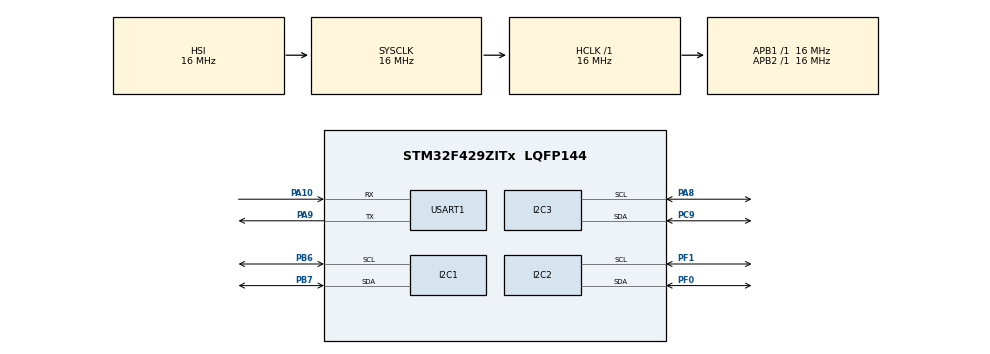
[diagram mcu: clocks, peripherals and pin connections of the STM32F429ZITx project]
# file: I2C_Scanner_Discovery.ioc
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Mcu.Family=STM32F4
Mcu.Name=STM32F429ZITx
Mcu.Package=LQFP144
NVIC.PriorityGroup=NVIC_PRIORITYGROUP_4
PA10.Mode=Asynchronous
PA10.Signal=USART1_RX
PA8.Mode=I2C
PA8.Signal=I2C3_SCL
PA9.Mode=Asynchronous
PA9.Signal=USART1_TX
PB6.Mode=I2C
PB6.Signal=I2C1_SCL
PB7.Mode=I2C
PB7.Signal=I2C1_SDA
PC9.Mode=I2C
PC9.Signal=I2C3_SDA
PF0.Mode=I2C
PF0.Signal=I2C2_SDA
PF1.Mode=I2C
PF1.Signal=I2C2_SCL
ProjectManager.HeapSize=0x200
ProjectManager.StackSize=0x400
ProjectManager.TargetToolchain=STM32CubeIDE
RCC.AHBFreq_Value=16000000
RCC.APB1Freq_Value=16000000
RCC.APB2Freq_Value=16000000
RCC.CortexFreq_Value=16000000
RCC.HSE_VALUE=25000000
RCC.HSI_VALUE=16000000
RCC.LSE_VALUE=32768
RCC.SYSCLKFreq_VALUE=16000000
RCC.VCOOutputFreq_Value=192000000
USART1.VirtualMode=VM_ASYNC
board=custom

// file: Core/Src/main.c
/* USER CODE BEGIN Header */
/**
  ******************************************************************************
  * @file           : main.c
  * @brief          : Main program body
  ******************************************************************************
  * @attention
  *
  * <h2><center>&copy; Copyright (c) 2021 STMicroelectronics.
  * All rights reserved.</center></h2>
  *
  * This software component is licensed by ST under BSD 3-Clause license,
  * the "License"; You may not use this file except in compliance with the
  * License. You may obtain a copy of the License at:
  *                        opensource.org/licenses/BSD-3-Clause
  *
  ******************************************************************************
  */
/* USER CODE END Header */
#include "main.h"

/* USER CODE BEGIN Includes */
#include "stdio.h"

I2C_HandleTypeDef hi2c1;
UART_HandleTypeDef huart1;

uint8_t Buffer[25] = {0};
uint8_t Space[] = " - ";
uint8_t StartMSG[] = "Starting I2C Scanning: \r\n";
uint8_t EndMSG[] = "Done! \r\n\r\n";

void SystemClock_Config(void);
static void MX_GPIO_Init(void);
static void MX_I2C1_Init(void);
static void MX_USART1_UART_Init(void);

/* USER CODE END Includes */

I2C_HandleTypeDef hi2c1;
I2C_HandleTypeDef hi2c2;
I2C_HandleTypeDef hi2c3;

UART_HandleTypeDef huart1;

void SystemClock_Config(void);
static void MX_GPIO_Init(void);
static void MX_I2C1_Init(void);
static void MX_USART1_UART_Init(void);
static void MX_I2C2_Init(void);
static void MX_I2C3_Init(void);

int main(void)
{
  /* USER CODE BEGIN 1 */
	uint8_t i = 0, ret;

    HAL_Init();
    SystemClock_Config();
    MX_GPIO_Init();
    MX_I2C1_Init();
    MX_USART1_UART_Init();

    HAL_Delay(1000);

    /*-[ I2C Bus Scanning ]-*/
    HAL_UART_Transmit(&huart1, StartMSG, sizeof(StartMSG), 10000);
    for(i=1; i<128; i++)
    {
    	ret = HAL_I2C_IsDeviceReady(&hi2c1, (uint16_t)(i<<1), 3, 5);
    	if (ret != HAL_OK) /* No ACK Received At That Address */
    	{
    		HAL_UART_Transmit(&huart1, Space, sizeof(Space), 10000);
        }
    	else if(ret == HAL_OK)
    	{
    		sprintf(Buffer, "0x%X", i);
    		HAL_UART_Transmit(&huart1, Buffer, sizeof(Buffer), 10000);
    	}
    }
    HAL_UART_Transmit(&huart1, EndMSG, sizeof(EndMSG), 10000);
    /*--[ Scanning Done ]--*/

  /* USER CODE END 1 */

  /* MCU Configuration--------------------------------------------------------*/

  /* Reset of all peripherals, Initializes the Flash interface and the Systick. */
  HAL_Init();

  /* Configure the system clock */
  SystemClock_Config();

  /* Initialize all configured peripherals */
  MX_GPIO_Init();
  MX_I2C1_Init();
  MX_USART1_UART_Init();
  MX_I2C2_Init();
  MX_I2C3_Init();

  /* Infinite loop */
  while (1)
  {

  }
}

void SystemClock_Config(void)
{
  RCC_OscInitTypeDef RCC_OscInitStruct = {0};
  RCC_ClkInitTypeDef RCC_ClkInitStruct = {0};

  /** Configure the main internal regulator output voltage
  */
  __HAL_RCC_PWR_CLK_ENABLE();
  __HAL_PWR_VOLTAGESCALING_CONFIG(PWR_REGULATOR_VOLTAGE_SCALE3);
  /** Initializes the RCC Oscillators according to the specified parameters
  * in the RCC_OscInitTypeDef structure.
  */
  RCC_OscInitStruct.OscillatorType = RCC_OSCILLATORTYPE_HSI;
  RCC_OscInitStruct.HSIState = RCC_HSI_ON;
  RCC_OscInitStruct.HSICalibrationValue = RCC_HSICALIBRATION_DEFAULT;
  RCC_OscInitStruct.PLL.PLLState = RCC_PLL_NONE;
  if (HAL_RCC_OscConfig(&RCC_OscInitStruct) != HAL_OK)
  {
    Error_Handler();
  }
  /** Initializes the CPU, AHB and APB buses clocks
  */
  RCC_ClkInitStruct.ClockType = RCC_CLOCKTYPE_HCLK|RCC_CLOCKTYPE_SYSCLK
                              |RCC_CLOCKTYPE_PCLK1|RCC_CLOCKTYPE_PCLK2;
  RCC_ClkInitStruct.SYSCLKSource = RCC_SYSCLKSOURCE_HSI;
  RCC_ClkInitStruct.AHBCLKDivider = RCC_SYSCLK_DIV1;
  RCC_ClkInitStruct.APB1CLKDivider = RCC_HCLK_DIV1;
  RCC_ClkInitStruct.APB2CLKDivider = RCC_HCLK_DIV1;

  if (HAL_RCC_ClockConfig(&RCC_ClkInitStruct, FLASH_LATENCY_0) != HAL_OK)
  {
    Error_Handler();
  }
}

static void MX_I2C1_Init(void)
{

  hi2c1.Instance = I2C1;
  hi2c1.Init.ClockSpeed = 100000;
  hi2c1.Init.DutyCycle = I2C_DUTYCYCLE_2;
  hi2c1.Init.OwnAddress1 = 0;
  hi2c1.Init.AddressingMode = I2C_ADDRESSINGMODE_7BIT;
  hi2c1.Init.DualAddressMode = I2C_DUALADDRESS_DISABLE;
  hi2c1.Init.OwnAddress2 = 0;
  hi2c1.Init.GeneralCallMode = I2C_GENERALCALL_DISABLE;
  hi2c1.Init.NoStretchMode = I2C_NOSTRETCH_DISABLE;
  if (HAL_I2C_Init(&hi2c1) != HAL_OK)
  {
    Error_Handler();
  }
  /** Configure Analogue filter
  */
  if (HAL_I2CEx_ConfigAnalogFilter(&hi2c1, I2C_ANALOGFILTER_ENABLE) != HAL_OK)
  {
    Error_Handler();
  }
  /** Configure Digital filter
  */
  if (HAL_I2CEx_ConfigDigitalFilter(&hi2c1, 0) != HAL_OK)
  {
    Error_Handler();
  }

}

static void MX_I2C2_Init(void)
{

  hi2c2.Instance = I2C2;
  hi2c2.Init.ClockSpeed = 100000;
  hi2c2.Init.DutyCycle = I2C_DUTYCYCLE_2;
  hi2c2.Init.OwnAddress1 = 0;
  hi2c2.Init.AddressingMode = I2C_ADDRESSINGMODE_7BIT;
  hi2c2.Init.DualAddressMode = I2C_DUALADDRESS_DISABLE;
  hi2c2.Init.OwnAddress2 = 0;
  hi2c2.Init.GeneralCallMode = I2C_GENERALCALL_DISABLE;
  hi2c2.Init.NoStretchMode = I2C_NOSTRETCH_DISABLE;
  if (HAL_I2C_Init(&hi2c2) != HAL_OK)
  {
    Error_Handler();
  }
  /** Configure Analogue filter
  */
  if (HAL_I2CEx_ConfigAnalogFilter(&hi2c2, I2C_ANALOGFILTER_ENABLE) != HAL_OK)
  {
    Error_Handler();
  }
  /** Configure Digital filter
  */
  if (HAL_I2CEx_ConfigDigitalFilter(&hi2c2, 0) != HAL_OK)
  {
    Error_Handler();
  }

}

static void MX_I2C3_Init(void)
{

  hi2c3.Instance = I2C3;
  hi2c3.Init.ClockSpeed = 100000;
  hi2c3.Init.DutyCycle = I2C_DUTYCYCLE_2;
  hi2c3.Init.OwnAddress1 = 0;
  hi2c3.Init.AddressingMode = I2C_ADDRESSINGMODE_7BIT;
  hi2c3.Init.DualAddressMode = I2C_DUALADDRESS_DISABLE;
  hi2c3.Init.OwnAddress2 = 0;
  hi2c3.Init.GeneralCallMode = I2C_GENERALCALL_DISABLE;
  hi2c3.Init.NoStretchMode = I2C_NOSTRETCH_DISABLE;
  if (HAL_I2C_Init(&hi2c3) != HAL_OK)
  {
    Error_Handler();
  }
  /** Configure Analogue filter
  */
  if (HAL_I2CEx_ConfigAnalogFilter(&hi2c3, I2C_ANALOGFILTER_ENABLE) != HAL_OK)
  {
    Error_Handler();
  }
  /** Configure Digital filter
  */
  if (HAL_I2CEx_ConfigDigitalFilter(&hi2c3, 0) != HAL_OK)
  {
    Error_Handler();
  }

}

static void MX_USART1_UART_Init(void)
{

  huart1.Instance = USART1;
  huart1.Init.BaudRate = 115200;
  huart1.Init.WordLength = UART_WORDLENGTH_8B;
  huart1.Init.StopBits = UART_STOPBITS_1;
  huart1.Init.Parity = UART_PARITY_NONE;
  huart1.Init.Mode = UART_MODE_TX_RX;
  huart1.Init.HwFlowCtl = UART_HWCONTROL_NONE;
  huart1.Init.OverSampling = UART_OVERSAMPLING_16;
  if (HAL_UART_Init(&huart1) != HAL_OK)
  {
    Error_Handler();
  }

}

static void MX_GPIO_Init(void)
{

  /* GPIO Ports Clock Enable */
  __HAL_RCC_GPIOF_CLK_ENABLE();
  __HAL_RCC_GPIOC_CLK_ENABLE();
  __HAL_RCC_GPIOA_CLK_ENABLE();
  __HAL_RCC_GPIOB_CLK_ENABLE();

}

void Error_Handler(void)
{
  __disable_irq();
  while (1)
  {
  }
}

/************************ (C) COPYRIGHT STMicroelectronics *****END OF FILE****/
